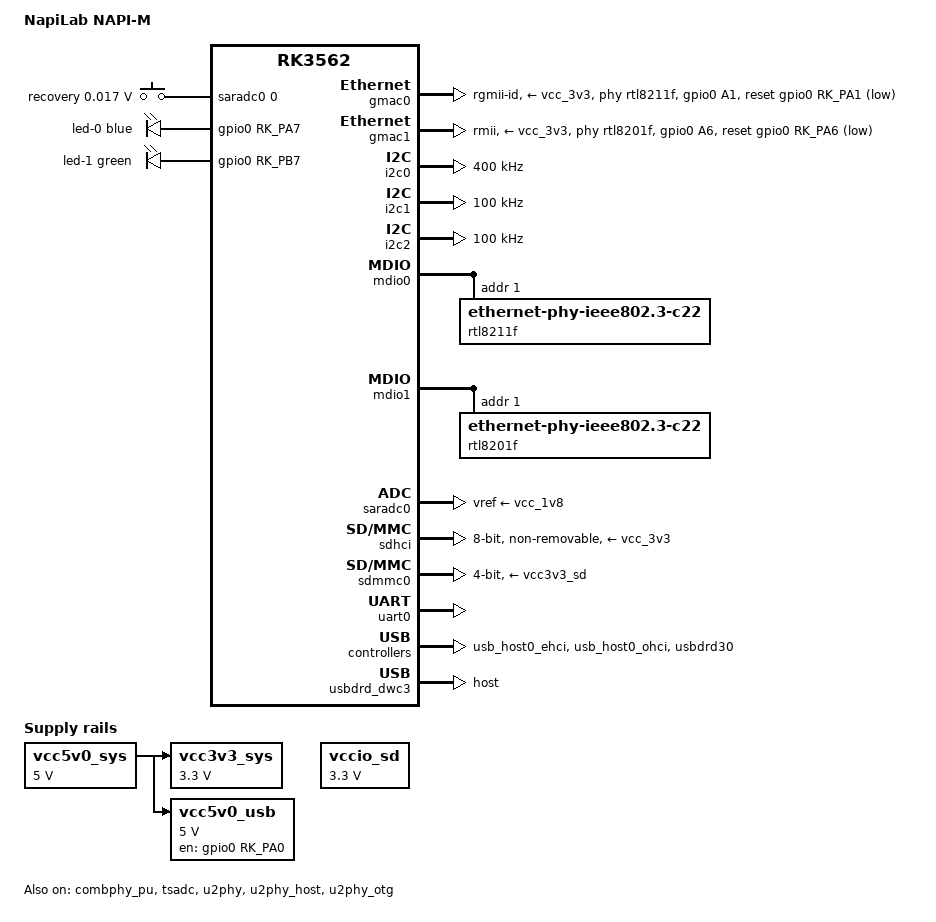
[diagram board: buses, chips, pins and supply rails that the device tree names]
// SPDX-License-Identifier: (GPL-2.0+ OR MIT)
/dts-v1/;

#include "rk3562.dtsi"
#include "rk3562-rk809.dtsi"
#include <dt-bindings/input/input.h>
#include <dt-bindings/leds/common.h>

/ {
	model = "NapiLab NAPI-M";
	compatible = "napilab,napi-m", "rockchip,rk3562";

	aliases {
		ethernet0 = &gmac0;
		ethernet1 = &gmac1;
		mmc0 = &sdhci;
		mmc1 = &sdmmc0;
		serial0 = &uart0;
	};

	chosen {
		stdout-path = "serial0:1500000n8";
	};

	adc-keys {
		compatible = "adc-keys";
		io-channels = <&saradc0 0>;
		io-channel-names = "buttons";
		keyup-threshold-microvolt = <1800000>;
		poll-interval = <100>;

		recovery-key {
			label = "recovery";
			linux,code = <KEY_RESTART>;
			press-threshold-microvolt = <17000>;
		};
	};

	leds {
		compatible = "gpio-leds";
		pinctrl-names = "default";
		pinctrl-0 = <&status_leds>;

		led-0 {
			color = <LED_COLOR_ID_BLUE>;
			function = LED_FUNCTION_STATUS;
			gpios = <&gpio0 RK_PA7 GPIO_ACTIVE_HIGH>;
			linux,default-trigger = "heartbeat";
		};

		led-1 {
			color = <LED_COLOR_ID_GREEN>;
			function = LED_FUNCTION_STATUS;
			gpios = <&gpio0 RK_PB7 GPIO_ACTIVE_HIGH>;
			default-state = "off";
		};
	};

	vcc5v0_sys: regulator-vcc5v0-sys {
		compatible = "regulator-fixed";
		regulator-name = "vcc5v0_sys";
		regulator-min-microvolt = <5000000>;
		regulator-max-microvolt = <5000000>;
		regulator-always-on;
		regulator-boot-on;
	};

	vcc3v3_sys: regulator-vcc3v3-sys {
		compatible = "regulator-fixed";
		regulator-name = "vcc3v3_sys";
		regulator-min-microvolt = <3300000>;
		regulator-max-microvolt = <3300000>;
		regulator-always-on;
		regulator-boot-on;
		vin-supply = <&vcc5v0_sys>;
	};

	vcc5v0_usb: regulator-vcc5v0-usb {
		compatible = "regulator-fixed";
		regulator-name = "vcc5v0_usb";
		regulator-min-microvolt = <5000000>;
		regulator-max-microvolt = <5000000>;
		gpio = <&gpio0 RK_PA0 GPIO_ACTIVE_HIGH>;
		enable-active-high;
		pinctrl-names = "default";
		pinctrl-0 = <&usb_host_enable>;
		vin-supply = <&vcc5v0_sys>;
	};
};

&combphy_pu {
	status = "okay";
};

&cpu0 {
	cpu-supply = <&vdd_cpu>;
};

&gmac0 {
	phy-mode = "rgmii-id";
	clock_in_out = "output";
	phy-supply = <&vcc_3v3>;
	phy-handle = <&rtl8211f>;
	snps,reset-gpio = <&gpio0 RK_PA1 GPIO_ACTIVE_LOW>;
	snps,reset-active-low;
	snps,reset-delays-us = <0 20000 100000>;
	pinctrl-names = "default";
	pinctrl-0 = <&rgmiim0_miim &rgmiim0_tx_bus2 &rgmiim0_rx_bus2
		     &rgmiim0_rgmii_clk &rgmiim0_rgmii_bus &gmac_reset>;
	status = "okay";
};

&gmac1 {
	phy-mode = "rmii";
	clock_in_out = "input";
	phy-supply = <&vcc_3v3>;
	phy-handle = <&rtl8201f>;
	snps,reset-gpio = <&gpio0 RK_PA6 GPIO_ACTIVE_LOW>;
	snps,reset-active-low;
	snps,reset-delays-us = <0 20000 100000>;
	pinctrl-names = "default";
	pinctrl-0 = <&rmii_pins &ethm1_pins &gmac1_reset>;
	status = "okay";
};

&i2c0 {
	clock-frequency = <400000>;
};

&i2c1 {
	status = "okay";
	clock-frequency = <100000>;
};

&i2c2 {
	status = "okay";
	clock-frequency = <100000>;
};

&mdio0 {
	/* The fitted PHYAD resistors select address 1. */
	rtl8211f: ethernet-phy@1 {
		compatible = "ethernet-phy-ieee802.3-c22";
		reg = <1>;
	};
};

&mdio1 {
	rtl8201f: ethernet-phy@1 {
		compatible = "ethernet-phy-ieee802.3-c22";
		reg = <1>;
		clocks = <&cru CLK_GMAC_ETH_OUT2IO>;
		assigned-clocks = <&cru CLK_GMAC_ETH_OUT2IO>;
		assigned-clock-rates = <25000000>;
	};
};

&pinctrl {
	ethernet {
		gmac_reset: gmac-reset {
			rockchip,pins = <0 RK_PA1 RK_FUNC_GPIO &pcfg_pull_none>;
		};

		gmac1_reset: gmac1-reset {
			rockchip,pins = <0 RK_PA6 RK_FUNC_GPIO &pcfg_pull_none>;
		};
	};

	leds {
		status_leds: status-leds {
			rockchip,pins = <0 RK_PA7 RK_FUNC_GPIO &pcfg_pull_none>,
					<0 RK_PB7 RK_FUNC_GPIO &pcfg_pull_none>;
		};
	};

	usb {
		usb_host_enable: usb-host-enable {
			rockchip,pins = <0 RK_PA0 RK_FUNC_GPIO &pcfg_pull_none>;
		};
	};
};

&rk809 {
	/* R14/R15 set BUCK3 to about 1.21 V through external feedback. */
	/delete-property/ fb-inner-reg-idxs;
	pinctrl-0 = <&pmic_int &soc_slppin_gpio>;
};

/* The RK809 audio interface is tied to ground. */
&rk809_codec {
	status = "disabled";
};

&saradc0 {
	vref-supply = <&vcc_1v8>;
	status = "okay";
};

&sdhci {
	bus-width = <8>;
	no-sd;
	no-sdio;
	non-removable;
	vmmc-supply = <&vcc_3v3>;
	vqmmc-supply = <&vcc_1v8>;
	mmc-hs200-1_8v;
	status = "okay";
};

&sdmmc0 {
	bus-width = <4>;
	no-mmc;
	no-sdio;
	cap-sd-highspeed;
	max-frequency = <50000000>;
	disable-wp;
	/* J6 has no detect contact; GPIO0_A4 has fixed resistors. */
	broken-cd;
	vmmc-supply = <&vcc3v3_sd>;
	vqmmc-supply = <&vccio_sd>;
	pinctrl-names = "default";
	pinctrl-0 = <&sdmmc0_bus4 &sdmmc0_clk &sdmmc0_cmd>;
	status = "okay";
};

&tsadc {
	/* GPIO0_A1 controls PHY reset, so use CRU thermal shutdown. */
	rockchip,hw-tshut-mode = <0>;
	status = "okay";
};

&u2phy {
	status = "okay";
};

&u2phy_host {
	phy-supply = <&vcc5v0_sys>;
	status = "okay";
};

&u2phy_otg {
	phy-supply = <&vcc5v0_usb>;
	status = "okay";
};

&uart0 {
	pinctrl-names = "default";
	pinctrl-0 = <&uart0m0_xfer>;
	status = "okay";
};

&usb_host0_ehci {
	status = "okay";
};

&usb_host0_ohci {
	status = "okay";
};

&usbdrd30 {
	status = "okay";
};

&usbdrd_dwc3 {
	dr_mode = "host";
	status = "okay";
};

/* LDO1 and LDO9 feed unused reserve rails. */
&vcc2v8_dvp {
	status = "disabled";
};

&vcc1v8_dvp {
	status = "disabled";
};

/* LDO4 has no consumers on this board. */
&vccio_acodec {
	status = "disabled";
};

&vccio_sd {
	regulator-min-microvolt = <3300000>;
	regulator-max-microvolt = <3300000>;
};
